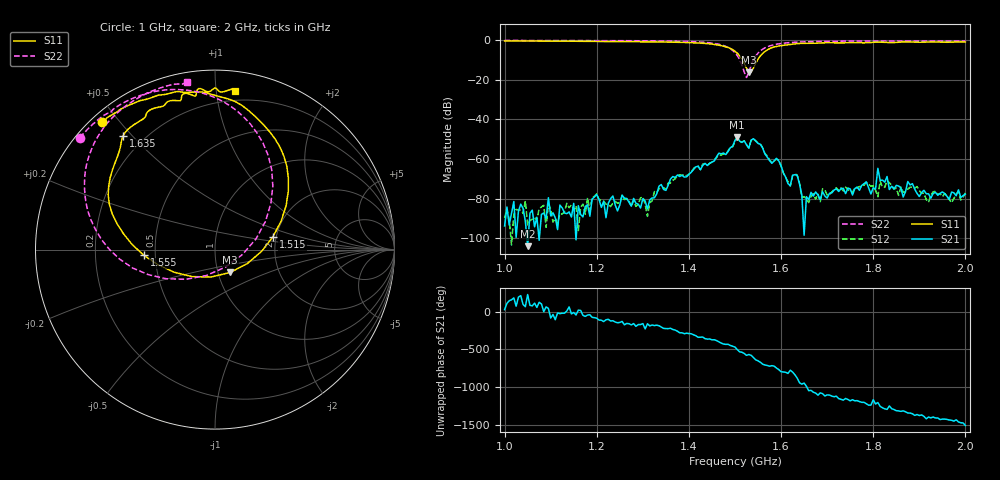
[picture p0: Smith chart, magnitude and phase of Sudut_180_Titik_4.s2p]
# Hz S RI R 50
! CMT, C1220, 16058040, 17.2.0/1
! Date: 14/08/2018 12:31:18
! Data: Format (Calibration Info)
! Freq  S11: Re/Im (F2)  S21: Re/Im (F2)  S12: Re/Im (F2)  S22: Re/Im (F2)
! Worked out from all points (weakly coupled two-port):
!   201 points, 1 GHz to 2 GHz, reference 50 ohm
!   highest |S21| = -49.00 dB at 1.505 GHz (marker M1); lowest = -104.1 dB at 1.05 GHz (marker M2)
!   lowest |S11| = -16.3 dB at 1.53 GHz (marker M3), VSWR 1.36, Z = 57.1 - j14.9 ohm
!   |S11| at or under -10 dB: 1.516 GHz to 1.549 GHz (33.21 MHz wide, 2.17 % of centre)
!   |S22| runs from -18.9 to -0.2 dB; largest |S21 - S12| = 0.00057
!   S11 on the Smith chart (normalised r, x): 1 GHz: 0.03, +0.45; 1.515 GHz: 1.92, +0.31; 1.555 GHz: 0.43, -0.03; 1.635 GHz: 0.13, +0.47; 2 GHz: 0.13, +1.13
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1e9  -0.6287 0.7099  1.82e-05 8.98e-06  -2.38e-05 2.15e-05  -0.7534 0.6237
1.05e9  -0.5867 0.7434  -4.43e-06 -4.42e-06  1.76e-05 -1.24e-05  -0.7189 0.6605
1.17e9  -0.4524 0.8157  2.27e-05 -2.58e-05  6.85e-05 -2.24e-05  -0.6175 0.749
1.335e9  -0.1875 0.8778  -0.000203 2.28e-05  -0.000174 1.09e-05  -0.4019 0.8634
1.45e9  0.1957 0.7672  0.00081 -0.000185  0.000809 -0.000214  0.0194 0.8379
1.5e9  0.4086 0.3271  -0.000922 -0.00279  -0.000945 -0.00257  0.3223 0.3549
1.505e9  0.3965 0.2454  -0.00281 -0.00217  -0.00262 -0.0021  0.3116 0.2592
1.515e9  0.323 0.0718  -0.0026 -0.000159  -0.00265 -0.000249  0.2286 0.0599
1.53e9  0.0844 -0.1274  -0.00168 0.000821  -0.00171 0.000795  -0.0493 -0.1446
1.555e9  -0.3958 -0.0319  0.00145 0.00183  0.00145 0.0019  -0.5306 -0.0536
1.62e9  -0.5278 0.5686  0.000126 -0.000171  9.86e-05 -0.00018  -0.7093 0.4976
1.635e9  -0.513 0.6313  -0.000353 -0.000144  -0.000371 -0.000121  -0.6862 0.5636
1.645e9  -0.4879 0.6672  -6.67e-05 0.000104  -5.64e-05 8.93e-05  -0.6698 0.6
1.67e9  -0.4021 0.7267  0.000111 3.08e-05  0.000107 7.78e-05  -0.6257 0.6714
1.785e9  -0.189 0.8338  -0.000189 -0.000183  -0.000171 -0.000193  -0.4472 0.8338
1.795e9  -0.1867 0.8496  -0.000117 -5.69e-05  -0.000192 -7.26e-05  -0.433 0.8421
1.805e9  -0.1792 0.8662  -0.000131 -0.000112  -0.000158 3.69e-05  -0.4193 0.8507
1.81e9  -0.1709 0.8699  -0.000288 -0.000501  -0.000102 4.24e-05  -0.4127 0.8545
1.815e9  -0.161 0.8711  -0.000283 -4.88e-05  -0.000273 3.51e-05  -0.4056 0.858
1.835e9  -0.1152 0.8557  -0.000163 -4.18e-05  -0.000227 0.000104  -0.3788 0.8713
1.855e9  -0.1032 0.8772  -0.000131 0.000161  -0.000111 4.64e-05  -0.3519 0.8829
2e9  0.1121 0.8863  5.97e-05 -0.000115  0.000112 -8.27e-05  -0.1559 0.9315
